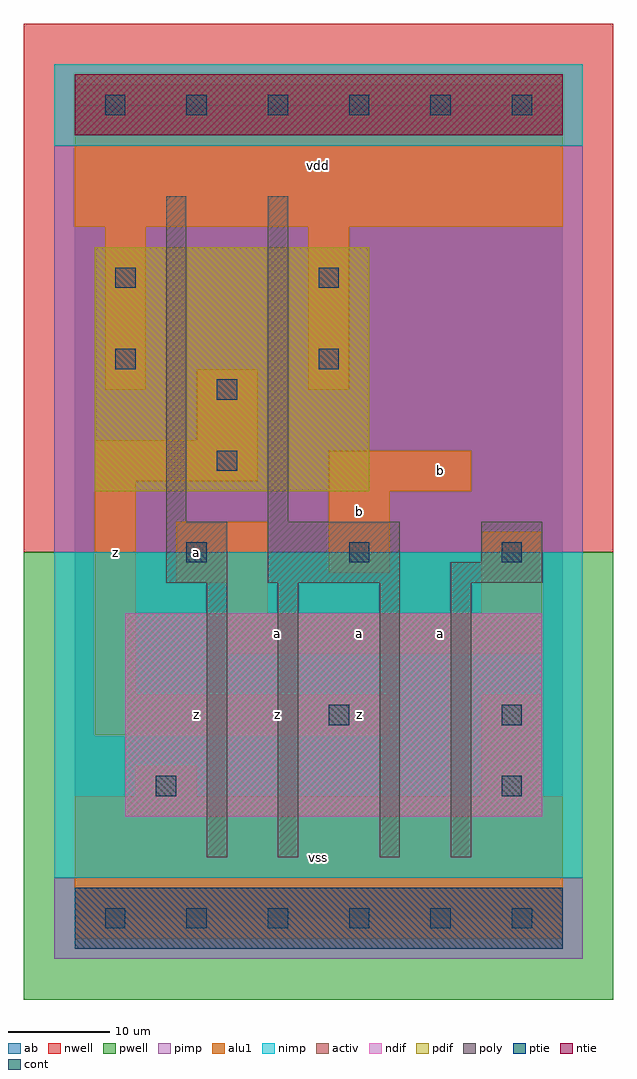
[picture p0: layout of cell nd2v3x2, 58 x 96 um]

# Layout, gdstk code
import gdstk
lib = gdstk.Library(unit=1e-6, precision=1e-09)
def R(c, l, rs):  # rectangles x0, y0, x1, y1
    for r in rs: c.add(gdstk.rectangle(r[:2], r[2:], *l))
def A(c, l, x, y, w, h, nx, ny, dx, dy):  # array of equal rectangles
    R(c, l, [(x+i*dx, y+j*dy, x+i*dx+w, y+j*dy+h) for i in range(nx) for j in range(ny)])
ndif = (3, 0)
pdif = (4, 0)
ntie = (5, 0)
ptie = (6, 0)
cont = (25, 0)
pwell = (41, 0)
nwell = (42, 0)
activ = (43, 0)
pimp = (44, 0)
nimp = (45, 0)
poly = (46, 0)
alu1 = (49, 0)
ab = (63, 0)

nd2v3x2 = lib.new_cell('nd2v3x2')
R(nd2v3x2, ndif, [(5,10,46,30)])
R(nd2v3x2, pdif, [(2,42,29,66)])
R(nd2v3x2, ntie, [(0,77,48,83)])
R(nd2v3x2, ptie, [(0,-3,48,3)])
A(nd2v3x2, cont, 3, -1, 2, 2, 6, 2, 8, 80)
R(nd2v3x2, cont, [(8,12,10,14), (42,12,44,14), (25,19,27,21), (42,19,44,21), (11,35,13,37), (27,35,29,37), (42,35,44,37), (14,44,16,46), (14,51,16,53), (4,54,6,56), (24,54,26,56), (4,62,6,64), (24,62,26,64)])
R(nd2v3x2, pwell, [(-5,-8,53,36)])
R(nd2v3x2, nwell, [(-5,36,53,88)])
R(nd2v3x2, activ, [(0,-3,48,3), (5,10,46,30), (2,42,29,66), (0,77,48,83)])
R(nd2v3x2, pimp, [(-2,-4,50,4), (-2,36,50,76)])
R(nd2v3x2, nimp, [(-2,4,50,36), (-2,76,50,84)])
R(nd2v3x2, poly, [(13,6,15,33), (20,6,22,33), (30,6,32,33), (37,6,39,33), (9,33,15,39), (19,33,32,39), (37,33,46,35), (40,35,46,39), (9,39,11,71), (19,39,21,71)])
R(nd2v3x2, alu1, [(0,-2,48,12), (6,12,12,15), (40,12,46,22), (2,18,31,22), (2,22,6,43), (15,26,46,30), (15,30,19,33), (40,30,46,38), (10,33,19,39), (25,34,31,42), (25,42,39,46), (2,43,18,47), (12,47,18,54), (3,52,7,68), (23,52,27,68), (0,68,48,82)])
R(nd2v3x2, ab, [(0,0,48,80)])
nd2v3x2.add(gdstk.Label('z', (4,36), layer=49, texttype=0))
nd2v3x2.add(gdstk.Label('z', (20,20), layer=49, texttype=0))
nd2v3x2.add(gdstk.Label('z', (12,20), layer=49, texttype=0))
nd2v3x2.add(gdstk.Label('a', (12,36), layer=49, texttype=0))
nd2v3x2.add(gdstk.Label('a', (20,28), layer=49, texttype=0))
nd2v3x2.add(gdstk.Label('vss', (24,6), layer=49, texttype=0))
nd2v3x2.add(gdstk.Label('z', (28,20), layer=49, texttype=0))
nd2v3x2.add(gdstk.Label('a', (28,28), layer=49, texttype=0))
nd2v3x2.add(gdstk.Label('b', (28,40), layer=49, texttype=0))
nd2v3x2.add(gdstk.Label('vdd', (24,74), layer=49, texttype=0))
nd2v3x2.add(gdstk.Label('a', (36,28), layer=49, texttype=0))
nd2v3x2.add(gdstk.Label('b', (36,44), layer=49, texttype=0))

lib.write_gds('nd2v3x2.gds')
